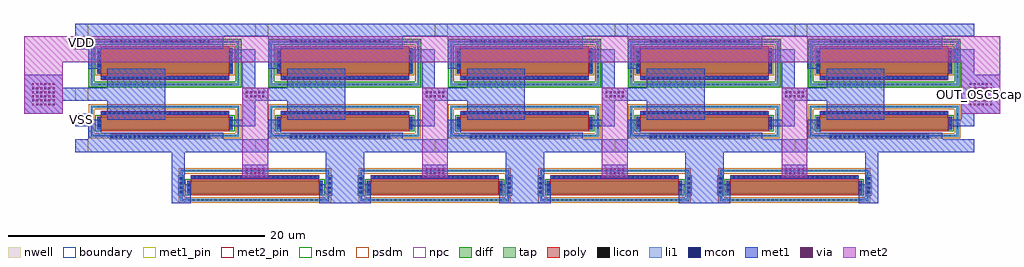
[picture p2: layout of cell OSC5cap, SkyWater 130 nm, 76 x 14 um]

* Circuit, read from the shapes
.subckt OSC5cap OUT_OSC5cap VDD VSS
XM1 inv_x4_6/INV_IN OUT_OSC5cap VSS VSS sky130_fd_pr__nfet_01v8 w=1 l=10
XM2 VSS inv_x4_6/INV_IN VSS VSS sky130_fd_pr__nfet_01v8 w=1 l=10
XM3 inv_x4_5/INV_IN inv_x4_6/INV_IN VSS VSS sky130_fd_pr__nfet_01v8 w=1 l=10
XM4 VSS inv_x4_5/INV_IN VSS VSS sky130_fd_pr__nfet_01v8 w=1 l=10
XM5 inv_x4_4/INV_IN inv_x4_5/INV_IN VSS VSS sky130_fd_pr__nfet_01v8 w=1 l=10
XM6 VSS inv_x4_4/INV_IN VSS VSS sky130_fd_pr__nfet_01v8 w=1 l=10
XM7 inv_x4_3/INV_IN inv_x4_4/INV_IN VSS VSS sky130_fd_pr__nfet_01v8 w=1 l=10
XM8 VSS inv_x4_3/INV_IN VSS VSS sky130_fd_pr__nfet_01v8 w=1 l=10
XM9 OUT_OSC5cap inv_x4_3/INV_IN VSS VSS sky130_fd_pr__nfet_01v8 w=1 l=10
XM10 inv_x4_6/INV_IN OUT_OSC5cap VDD VDD sky130_fd_pr__pfet_01v8 w=2 l=10
XM11 inv_x4_5/INV_IN inv_x4_6/INV_IN VDD VDD sky130_fd_pr__pfet_01v8 w=2 l=10
XM12 inv_x4_4/INV_IN inv_x4_5/INV_IN VDD VDD sky130_fd_pr__pfet_01v8 w=2 l=10
XM13 inv_x4_3/INV_IN inv_x4_4/INV_IN VDD VDD sky130_fd_pr__pfet_01v8 w=2 l=10
XM14 OUT_OSC5cap inv_x4_3/INV_IN VDD VDD sky130_fd_pr__pfet_01v8 w=2 l=10
.ends

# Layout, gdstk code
import gdstk
lib = gdstk.Library(unit=1e-6, precision=1e-09)
def R(c, l, rs):  # rectangles x0, y0, x1, y1
    for r in rs: c.add(gdstk.rectangle(r[:2], r[2:], *l))
def A(c, l, x, y, w, h, nx, ny, dx, dy):  # array of equal rectangles
    R(c, l, [(x+i*dx, y+j*dy, x+i*dx+w, y+j*dy+h) for i in range(nx) for j in range(ny)])
nwell = (64, 20)
diff = (65, 20)
tap = (65, 44)
poly = (66, 20)
licon = (66, 44)
li1 = (67, 20)
mcon = (67, 44)
met1_pin = (68, 16)
met1 = (68, 20)
via = (68, 44)
met2_pin = (69, 16)
met2 = (69, 20)
nsdm = (93, 44)
psdm = (94, 20)
npc = (95, 20)
boundary = (235, 4)

sky130_fd_pr__nfet_01v8_ = lib.new_cell('sky130_fd_pr__nfet_01v8_QXQT3M')
R(sky130_fd_pr__nfet_01v8_, diff, [(-5.29,-0.655,5.29,0.345)])
R(sky130_fd_pr__nfet_01v8_, tap, [(-5.8,-1.215,5.8,-1.045), (-5.8,-1.045,-5.63,1.045), (5.63,-1.045,5.8,1.045), (-5.8,1.045,5.8,1.215)])
R(sky130_fd_pr__nfet_01v8_, poly, [(-5,-0.785,5,0.785)])
A(sky130_fd_pr__nfet_01v8_, licon, -5.185, -1.215, 0.17, 0.17, 31, 2, 0.34, 2.26)
A(sky130_fd_pr__nfet_01v8_, licon, -5.8, -0.595, 0.17, 0.17, 1, 4, 0, 0.34)
A(sky130_fd_pr__nfet_01v8_, licon, 5.63, -0.595, 0.17, 0.17, 1, 4, 0, 0.34)
A(sky130_fd_pr__nfet_01v8_, licon, -5.23, -0.58, 0.17, 0.17, 1, 3, 0, 0.34)
A(sky130_fd_pr__nfet_01v8_, licon, 5.06, -0.58, 0.17, 0.17, 1, 3, 0, 0.34)
A(sky130_fd_pr__nfet_01v8_, licon, -4.845, 0.535, 0.17, 0.17, 29, 1, 0.34, 0)
R(sky130_fd_pr__nfet_01v8_, li1, [(-5.8,-1.215,5.8,-1.045), (-5.8,-1.045,-5.63,1.045), (5.63,-1.045,5.8,1.045), (-5.23,-0.675,-5.06,0.365), (5.06,-0.675,5.23,0.365), (-5,0.535,5,0.705), (-5.8,1.045,5.8,1.215)])
A(sky130_fd_pr__nfet_01v8_, mcon, -4.765, 0.535, 0.17, 0.17, 27, 1, 0.36, 0)
R(sky130_fd_pr__nfet_01v8_, mcon, [(-5.23,-0.42,-5.06,-0.25), (5.06,-0.42,5.23,-0.25), (-5.23,-0.06,-5.06,0.11), (5.06,-0.06,5.23,0.11)])
R(sky130_fd_pr__nfet_01v8_, met1, [(-5.26,-0.655,-5.03,0.345), (5.03,-0.655,5.26,0.345), (-4.98,0.505,4.98,0.735)])
R(sky130_fd_pr__nfet_01v8_, nsdm, [(-5.415,-0.78,5.415,0.47)])
R(sky130_fd_pr__nfet_01v8_, psdm, [(-5.925,-1.34,5.925,-0.92), (-5.925,-0.92,-5.505,0.92), (5.505,-0.92,5.925,0.92), (-5.925,0.92,5.925,1.34)])
R(sky130_fd_pr__nfet_01v8_, npc, [(-4.945,0.435,4.945,0.805)])
R(sky130_fd_pr__nfet_01v8_, boundary, [(-5.715,-1.13,5.715,1.13)])

sky130_fd_pr__pfet_01v8_ = lib.new_cell('sky130_fd_pr__pfet_01v8_P6BKAN')
R(sky130_fd_pr__pfet_01v8_, nwell, [(-5.98,-1.92,5.98,1.92)])
R(sky130_fd_pr__pfet_01v8_, diff, [(-5.29,-0.82,5.29,1.18)])
R(sky130_fd_pr__pfet_01v8_, tap, [(-5.8,-1.74,5.8,-1.57), (-5.8,-1.57,-5.63,1.57), (5.63,-1.57,5.8,1.57), (-5.8,1.57,5.8,1.74)])
R(sky130_fd_pr__pfet_01v8_, poly, [(-5,-1.305,5,1.31)])
A(sky130_fd_pr__pfet_01v8_, licon, -5.185, -1.74, 0.17, 0.17, 31, 2, 0.34, 3.31)
A(sky130_fd_pr__pfet_01v8_, licon, -4.845, -1.225, 0.17, 0.17, 29, 1, 0.34, 0)
A(sky130_fd_pr__pfet_01v8_, licon, -5.8, -1.105, 0.17, 0.17, 1, 7, 0, 0.34)
A(sky130_fd_pr__pfet_01v8_, licon, 5.63, -1.105, 0.17, 0.17, 1, 7, 0, 0.34)
A(sky130_fd_pr__pfet_01v8_, licon, -5.23, -0.755, 0.17, 0.17, 1, 6, 0, 0.34)
A(sky130_fd_pr__pfet_01v8_, licon, 5.06, -0.755, 0.17, 0.17, 1, 6, 0, 0.34)
R(sky130_fd_pr__pfet_01v8_, li1, [(-5.8,-1.74,5.8,-1.57), (-5.8,-1.57,-5.63,1.57), (5.63,-1.57,5.8,1.57), (-5,-1.225,5,-1.055), (-5.23,-0.84,-5.06,1.2), (5.06,-0.84,5.23,1.2), (-5.8,1.57,5.8,1.74)])
A(sky130_fd_pr__pfet_01v8_, mcon, -4.765, -1.225, 0.17, 0.17, 27, 1, 0.36, 0)
A(sky130_fd_pr__pfet_01v8_, mcon, -5.23, -0.625, 0.17, 0.17, 1, 5, 0, 0.36)
A(sky130_fd_pr__pfet_01v8_, mcon, 5.06, -0.625, 0.17, 0.17, 1, 5, 0, 0.36)
R(sky130_fd_pr__pfet_01v8_, met1, [(-4.98,-1.255,4.98,-1.025), (-5.26,-0.82,-5.03,1.18), (5.03,-0.82,5.26,1.18)])
R(sky130_fd_pr__pfet_01v8_, nsdm, [(-5.925,-1.865,5.925,-1.445), (-5.925,-1.445,-5.505,1.445), (5.505,-1.445,5.925,1.445), (-5.925,1.445,5.925,1.865)])
R(sky130_fd_pr__pfet_01v8_, psdm, [(-5.415,-0.945,5.415,1.305)])
R(sky130_fd_pr__pfet_01v8_, npc, [(-4.945,-1.325,4.945,-0.955)])
R(sky130_fd_pr__pfet_01v8_, boundary, [(-5.715,-1.655,5.715,1.655)])

inv_x4 = lib.new_cell('inv_x4')
R(inv_x4, li1, [(6.7,-5,14.5,-4.6), (6.7,2.4,14.5,2.8)])
A(inv_x4, mcon, 6.735, -4.885, 0.17, 0.17, 22, 2, 0.36, 7.4)
R(inv_x4, met1_pin, [(4,-6,5,-5), (4,-2,5,-1), (17,-2,18,-1), (4,3,5,4)])
R(inv_x4, met1, [(4,-6,18,-5), (5,-5,15.5,-4.5), (5,-4.5,6,-3.5), (16,-4,18,-3.5), (6.5,-3.5,11,-2), (17,-3.5,18,1), (4,-2,11,-1), (6.5,-1,11,0.5), (5,0.5,6,2), (16,1,18,2), (5,2,15.5,3), (4,3,18,4)])
inv_x4.add(gdstk.Reference(sky130_fd_pr__nfet_01v8_, (10.98,-3.605)))
inv_x4.add(gdstk.Reference(sky130_fd_pr__pfet_01v8_, (10.98,0.92)))
inv_x4.add(gdstk.Label('VDD', (4.5,3.5), layer=68, texttype=5))
inv_x4.add(gdstk.Label('VSS', (4.5,-5.5), layer=68, texttype=5))
inv_x4.add(gdstk.Label('INV_OUT', (17.5,-1.5), layer=68, texttype=5))
inv_x4.add(gdstk.Label('INV_IN', (4.5,-1.5), layer=68, texttype=5))

osc5cap = lib.new_cell('OSC5cap')
R(osc5cap, li1, [(12,-7.4,12.4,-5.8), (23.6,-7.4,24,-5.8), (26,-7.4,26.4,-5.8), (37.6,-7.4,38,-5.8), (40,-7.4,40.4,-5.8), (51.6,-7.4,52,-5.8), (54,-7.4,54.4,-5.8), (65.6,-7.4,66,-5.8)])
A(osc5cap, mcon, 12.115, -7.225, 0.17, 0.17, 1, 4, 0, 0.36)
A(osc5cap, mcon, 23.715, -7.225, 0.17, 0.17, 1, 4, 0, 0.36)
A(osc5cap, mcon, 26.115, -7.225, 0.17, 0.17, 1, 4, 0, 0.36)
A(osc5cap, mcon, 37.715, -7.225, 0.17, 0.17, 1, 4, 0, 0.36)
A(osc5cap, mcon, 40.115, -7.225, 0.17, 0.17, 1, 4, 0, 0.36)
A(osc5cap, mcon, 51.715, -7.225, 0.17, 0.17, 1, 4, 0, 0.36)
A(osc5cap, mcon, 54.115, -7.225, 0.17, 0.17, 1, 4, 0, 0.36)
A(osc5cap, mcon, 65.715, -7.225, 0.17, 0.17, 1, 4, 0, 0.36)
R(osc5cap, met1_pin, [(4,-2,5,-1), (4,4,5,5)])
A(osc5cap, met1, 23, -8, 4, 1.5, 3, 1, 14, 0)
A(osc5cap, met1, 17, -6, 2, 1, 4, 1, 14, 0)
A(osc5cap, met1, 17.1, 0.1, 1.8, 0.8, 4, 1, 14, 0)
R(osc5cap, met1, [(11.5,-8,13,-6.5), (65,-8,66.5,-6.5), (11.5,-6.5,12.5,-3.5), (23.5,-6.5,26.5,-4), (37.5,-6.5,40.5,-3.5), (51.5,-6.5,54.5,-4), (65.5,-6.5,66.5,-3.5), (53.5,-4,54.5,-3.5), (4,-2,5,-1), (0,-1,3,0), (73,-1,76,2), (0,0,4,1), (0,1,3,2), (4,4,5,5)])
A(osc5cap, via, 17.285, -5.735, 0.15, 0.15, 5, 2, 0.32, 0.32)
A(osc5cap, via, 31.285, -5.735, 0.15, 0.15, 5, 2, 0.32, 0.32)
A(osc5cap, via, 45.285, -5.735, 0.15, 0.15, 5, 2, 0.32, 0.32)
A(osc5cap, via, 59.285, -5.735, 0.15, 0.15, 5, 2, 0.32, 0.32)
A(osc5cap, via, 0.625, -0.375, 0.15, 0.15, 6, 6, 0.32, 0.32)
A(osc5cap, via, 73.625, -0.375, 0.15, 0.15, 6, 6, 0.32, 0.32)
A(osc5cap, via, 17.285, 0.265, 0.15, 0.15, 5, 2, 0.32, 0.32)
A(osc5cap, via, 31.285, 0.265, 0.15, 0.15, 5, 2, 0.32, 0.32)
A(osc5cap, via, 45.285, 0.265, 0.15, 0.15, 5, 2, 0.32, 0.32)
A(osc5cap, via, 59.285, 0.265, 0.15, 0.15, 5, 2, 0.32, 0.32)
R(osc5cap, met2_pin, [(74,0,75,1)])
A(osc5cap, met2, 17, -6, 2, 7, 4, 1, 14, 0)
R(osc5cap, met2, [(0,-1,3,3), (73,-1,76,3), (0,3,76,5)])
osc5cap.add(gdstk.Reference(sky130_fd_pr__nfet_01v8_, (17.985,-6.6)))
osc5cap.add(gdstk.Reference(sky130_fd_pr__nfet_01v8_, (45.985,-6.6)))
osc5cap.add(gdstk.Reference(sky130_fd_pr__nfet_01v8_, (31.985,-6.6)))
osc5cap.add(gdstk.Reference(inv_x4, (56,2)))
osc5cap.add(gdstk.Reference(inv_x4, (42,2)))
osc5cap.add(gdstk.Reference(inv_x4, (28,2)))
osc5cap.add(gdstk.Reference(inv_x4, (14,2)))
osc5cap.add(gdstk.Reference(inv_x4, (0,2)))
osc5cap.add(gdstk.Reference(sky130_fd_pr__nfet_01v8_, (59.985,-6.6)))
osc5cap.add(gdstk.Label('VDD', (4.5,4.5), layer=68, texttype=5))
osc5cap.add(gdstk.Label('VSS', (4.5,-1.5), layer=68, texttype=5))
osc5cap.add(gdstk.Label('OUT_OSC5cap', (74.5,0.5), layer=69, texttype=5))

lib.write_gds('OSC5cap.gds')
